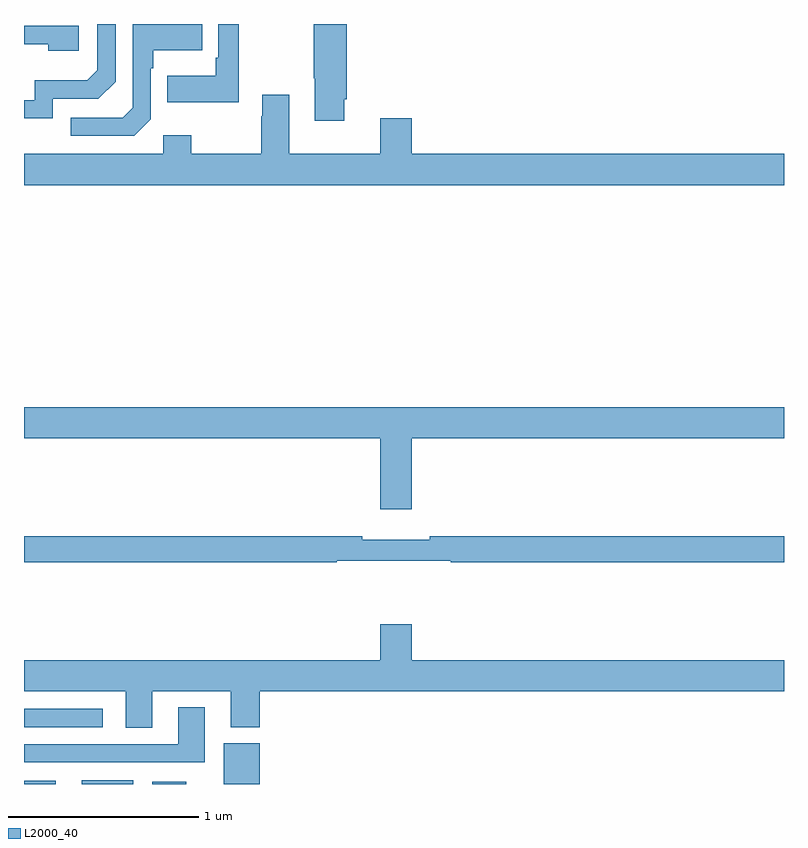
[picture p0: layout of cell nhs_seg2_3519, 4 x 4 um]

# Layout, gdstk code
import gdstk
lib = gdstk.Library(unit=1e-6, precision=1e-09)
def R(c, l, rs):  # rectangles x0, y0, x1, y1
    for r in rs: c.add(gdstk.rectangle(r[:2], r[2:], *l))
def P(c, l, *ps):  # polygons
    for p in ps: c.add(gdstk.Polygon(p, *l))
L2000_40 = (2000, 40)

nhs_seg2_3519 = lib.new_cell('nhs_seg2_3519')
R(nhs_seg2_3519, L2000_40, [(295,661.8,295.168,661.816), (295.304,661.8,295.576,661.819), (295.676,661.8,295.855,661.813), (296.051,661.8,296.242,662.014), (295,662.1,295.414,662.196)])
P(nhs_seg2_3519, L2000_40, [(295.152,665.406),(295.392,665.406),(295.482,665.496),(295.482,665.8),(295.386,665.8),(295.386,665.556),(295.333,665.503),(295.056,665.503),(295.056,665.4),(295,665.4),(295,665.304),(295.152,665.304)],
  [(296.686,665.404),(296.699,665.404),(296.699,665.8),(296.524,665.8),(296.524,665.515),(296.531,665.515),(296.531,665.292),(296.686,665.292)],
  [(296.131,665.8),(296.022,665.8),(296.022,665.623),(296.01,665.623),(296.01,665.527),(295.753,665.527),(295.753,665.387),(296.131,665.387)],
  [(295.668,665.298),(295.668,665.567),(295.681,665.567),(295.681,665.663),(295.937,665.663),(295.937,665.8),(295.572,665.8),(295.572,665.358),(295.521,665.307),(295.245,665.307),(295.245,665.211),(295.581,665.211)],
  [(295.288,665.79),(295,665.79),(295,665.694),(295.127,665.694),(295.127,665.66),(295.288,665.66)],
  [(299,665.116),(297.04,665.116),(297.04,665.305),(296.876,665.305),(296.876,665.116),(296.395,665.116),(296.395,665.428),(296.255,665.428),(296.255,665.315),(296.248,665.315),(296.248,665.116),(295.881,665.116),(295.881,665.215),(295.734,665.215),(295.734,665.116),(295,665.116),(295,664.952),(299,664.952)],
  [(297.04,663.62),(299,663.62),(299,663.784),(295,663.784),(295,663.62),(296.876,663.62),(296.876,663.246),(297.04,663.246)],
  [(296.645,662.976),(297.245,662.976),(297.245,662.968),(299,662.968),(299,663.104),(297.136,663.104),(297.136,663.085),(296.78,663.085),(296.78,663.104),(295,663.104),(295,662.968),(296.645,662.968)],
  [(295.675,662.288),(296.087,662.288),(296.087,662.099),(296.24,662.099),(296.24,662.288),(299,662.288),(299,662.452),(297.04,662.452),(297.04,662.641),(296.876,662.641),(296.876,662.452),(295,662.452),(295,662.288),(295.535,662.288),(295.535,662.095),(295.675,662.095)],
  [(295.951,662.203),(295.811,662.203),(295.811,662.01),(295,662.01),(295,661.914),(295.951,661.914)])

lib.write_gds('nhs_seg2_3519.gds')
